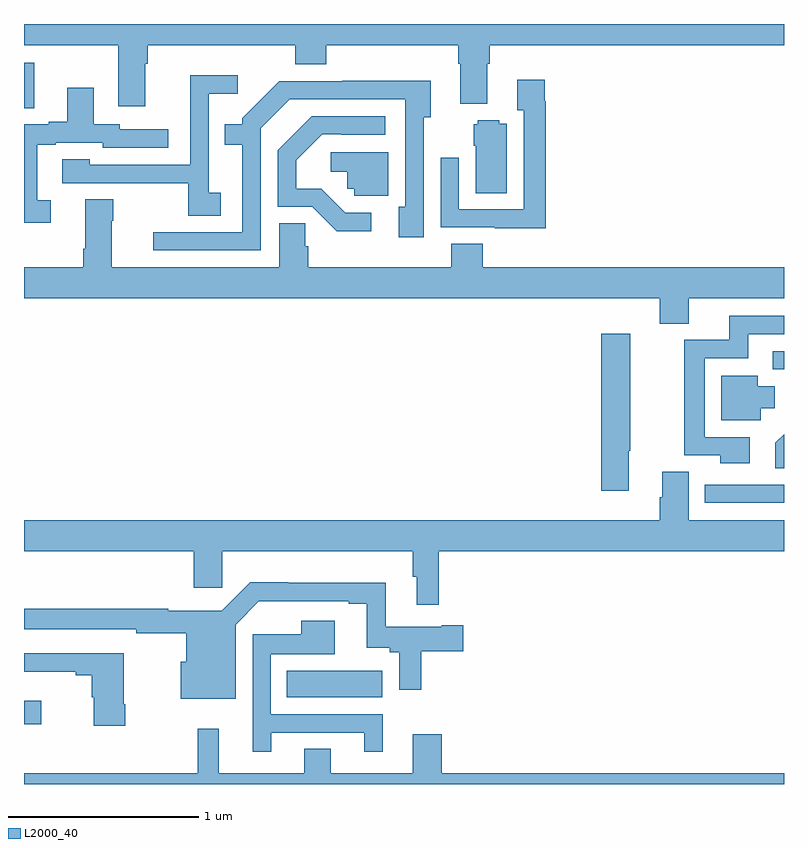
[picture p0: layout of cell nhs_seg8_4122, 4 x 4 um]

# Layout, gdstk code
import gdstk
lib = gdstk.Library(unit=1e-6, precision=1e-09)
def R(c, l, rs):  # rectangles x0, y0, x1, y1
    for r in rs: c.add(gdstk.rectangle(r[:2], r[2:], *l))
def P(c, l, *ps):  # polygons
    for p in ps: c.add(gdstk.Polygon(p, *l))
L2000_40 = (2000, 40)

nhs_seg8_4122 = lib.new_cell('nhs_seg8_4122')
R(nhs_seg8_4122, L2000_40, [(363,1158.215,363.091,1158.337), (364.384,1158.356,364.885,1158.496), (366.584,1159.38,367,1159.476), (366.942,1160.082,367,1160.178), (363,1161.457,363.055,1161.696)])
P(nhs_seg8_4122, L2000_40, [(363,1161.788),(363.497,1161.788),(363.497,1161.468),(363.637,1161.468),(363.637,1161.692),(363.65,1161.692),(363.65,1161.788),(364.427,1161.788),(364.427,1161.689),(364.592,1161.689),(364.592,1161.788),(365.285,1161.788),(365.285,1161.692),(365.297,1161.692),(365.297,1161.479),(365.437,1161.479),(365.437,1161.692),(365.45,1161.692),(365.45,1161.788),(367,1161.788),(367,1161.9),(363,1161.9)],
  [(364.036,1161.012),(363.972,1161.012),(363.972,1161.533),(364.126,1161.533),(364.126,1161.631),(363.874,1161.631),(363.874,1161.392),(363.876,1161.392),(363.876,1161.159),(363.345,1161.159),(363.345,1161.187),(363.201,1161.187),(363.201,1161.063),(363.559,1161.063),(363.559,1161.061),(363.864,1161.061),(363.864,1160.89),(364.036,1160.89)],
  [(365.747,1161.494),(365.74,1161.494),(365.74,1161.607),(365.597,1161.607),(365.597,1161.446),(365.631,1161.446),(365.631,1160.925),(365.289,1160.925),(365.289,1161.196),(365.193,1161.196),(365.193,1160.829),(365.477,1160.829),(365.477,1160.825),(365.747,1160.825)],
  [(364.245,1161.351),(364.398,1161.504),(365.007,1161.504),(365.007,1160.938),(364.973,1160.938),(364.973,1160.778),(365.103,1160.778),(365.103,1161.41),(365.14,1161.41),(365.14,1161.602),(364.675,1161.602),(364.675,1161.6),(364.344,1161.6),(364.149,1161.405),(364.149,1161.373),(364.057,1161.373),(364.057,1161.264),(364.148,1161.264),(364.148,1160.805),(363.681,1160.805),(363.681,1160.709),(364.245,1160.709)],
  [(363.142,1160.973),(363.07,1160.973),(363.07,1161.264),(363.166,1161.264),(363.166,1161.276),(363.414,1161.276),(363.414,1161.249),(363.76,1161.249),(363.76,1161.345),(363.504,1161.345),(363.504,1161.372),(363.367,1161.372),(363.367,1161.565),(363.227,1161.565),(363.227,1161.385),(363.131,1161.385),(363.131,1161.372),(363,1161.372),(363,1160.853),(363.142,1160.853)],
  [(364.828,1160.907),(364.692,1160.907),(364.565,1161.034),(364.432,1161.034),(364.432,1161.184),(364.569,1161.321),(364.669,1161.321),(364.669,1161.318),(364.9,1161.318),(364.9,1161.414),(364.514,1161.414),(364.335,1161.235),(364.335,1160.937),(364.518,1160.937),(364.646,1160.81),(364.828,1160.81)],
  [(365.542,1161.376),(365.502,1161.376),(365.502,1161.394),(365.388,1161.394),(365.388,1161.372),(365.366,1161.372),(365.366,1161.258),(365.378,1161.258),(365.378,1161.01),(365.542,1161.01)],
  [(364.918,1161.225),(364.614,1161.225),(364.614,1161.122),(364.701,1161.122),(364.701,1161.033),(364.737,1161.033),(364.737,1160.997),(364.918,1160.997)],
  [(366.499,1160.456),(367,1160.456),(367,1160.62),(365.414,1160.62),(365.414,1160.744),(365.249,1160.744),(365.249,1160.62),(364.496,1160.62),(364.496,1160.73),(364.481,1160.73),(364.481,1160.852),(364.343,1160.852),(364.343,1160.62),(363.463,1160.62),(363.463,1160.864),(363.471,1160.864),(363.471,1160.977),(363.323,1160.977),(363.323,1160.716),(363.311,1160.716),(363.311,1160.62),(363,1160.62),(363,1160.456),(366.347,1160.456),(366.347,1160.323),(366.499,1160.323)],
  [(366.82,1159.725),(366.582,1159.725),(366.582,1160.142),(366.811,1160.142),(366.811,1160.268),(367,1160.268),(367,1160.364),(366.713,1160.364),(366.713,1160.238),(366.474,1160.238),(366.474,1159.629),(366.664,1159.629),(366.664,1159.589),(366.82,1159.589)],
  [(366.184,1159.655),(366.192,1159.655),(366.192,1160.269),(366.038,1160.269),(366.038,1159.443),(366.184,1159.443)],
  [(366.877,1159.877),(366.952,1159.877),(366.952,1159.993),(366.862,1159.993),(366.862,1160.05),(366.671,1160.05),(366.671,1159.814),(366.877,1159.814)],
  [(367,1159.742),(366.955,1159.697),(366.955,1159.561),(367,1159.561)],
  [(365.183,1159.124),(367,1159.124),(367,1159.288),(366.499,1159.288),(366.499,1159.544),(366.359,1159.544),(366.359,1159.41),(366.347,1159.41),(366.347,1159.288),(363,1159.288),(363,1159.124),(363.893,1159.124),(363.893,1158.933),(364.044,1158.933),(364.044,1159.124),(365.047,1159.124),(365.047,1158.992),(365.066,1158.992),(365.066,1158.843),(365.183,1158.843)],
  [(364.114,1158.739),(364.236,1158.861),(364.709,1158.861),(364.709,1158.849),(364.805,1158.849),(364.805,1158.617),(364.926,1158.617),(364.926,1158.593),(364.974,1158.593),(364.974,1158.396),(365.09,1158.396),(365.09,1158.598),(365.311,1158.598),(365.311,1158.735),(365.198,1158.735),(365.198,1158.727),(364.903,1158.727),(364.903,1158.958),(364.391,1158.958),(364.391,1158.961),(364.192,1158.961),(364.042,1158.811),(363.758,1158.811),(363.758,1158.823),(363,1158.823),(363,1158.714),(363.592,1158.714),(363.592,1158.694),(363.854,1158.694),(363.854,1158.544),(363.824,1158.544),(363.824,1158.35),(364.114,1158.35)],
  [(364.3,1158.171),(364.79,1158.171),(364.79,1158.069),(364.888,1158.069),(364.888,1158.267),(364.299,1158.267),(364.299,1158.584),(364.636,1158.584),(364.636,1158.76),(364.46,1158.76),(364.46,1158.688),(364.203,1158.688),(364.203,1158.069),(364.3,1158.069)],
  [(363.534,1158.319),(363.526,1158.319),(363.526,1158.588),(363,1158.588),(363,1158.491),(363.272,1158.491),(363.272,1158.472),(363.356,1158.472),(363.356,1158.357),(363.368,1158.357),(363.368,1158.207),(363.534,1158.207)],
  [(367,1157.956),(365.198,1157.956),(365.198,1158.163),(365.045,1158.163),(365.045,1157.956),(364.615,1157.956),(364.615,1158.086),(364.475,1158.086),(364.475,1157.956),(364.025,1157.956),(364.025,1158.19),(363.915,1158.19),(363.915,1157.956),(363,1157.956),(363,1157.9),(367,1157.9)])

lib.write_gds('nhs_seg8_4122.gds')
